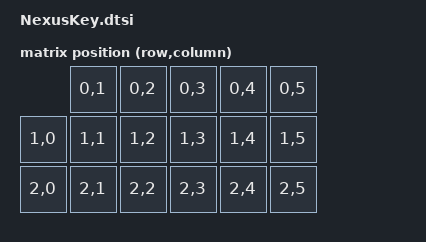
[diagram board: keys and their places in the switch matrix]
#include <dt-bindings/zmk/matrix_transform.h>

// Matrix Scan

/ {
    chosen
    {
        zmk,matrix-transform = &default_transform;
    };

    default_transform: matrix_transform
    {
        compatible = "zmk,matrix-transform";
        columns = <6>;
        rows = <3>;

        map =
        <
                    RC(0,1) RC(0,2) RC(0,3) RC(0,4) RC(0,5)
            RC(1,0) RC(1,1) RC(1,2) RC(1,3) RC(1,4) RC(1,5)
            RC(2,0) RC(2,1) RC(2,2) RC(2,3) RC(2,4) RC(2,5)
        >;
    };
};

// Soft Off Behavior

/ {
    // GPIO pin that will be used for both triggering soft off and waking the device later

    keys {
        compatible = "gpio-keys";
        soft_off_key: soft_off_key {
            gpios = <&gpio0 7 (GPIO_ACTIVE_HIGH | GPIO_PULL_DOWN)>; // P0.07 Soft Off
        };
    };

    // Attach the wake up sources to the Soft Off.

    soft_off_wakers {
        compatible = "zmk,soft-off-wakeup-sources";
        wakeup-sources = <&wakeup_source>;
    };

    // Init Soft Off behavior when keyboard's off.

    behaviors {
        hw_soft_off: hw_soft_off {
            compatible = "zmk,behavior-soft-off";
            #binding-cells = <0>;
            hold-time-ms = <3000>;
        };
    };
};
